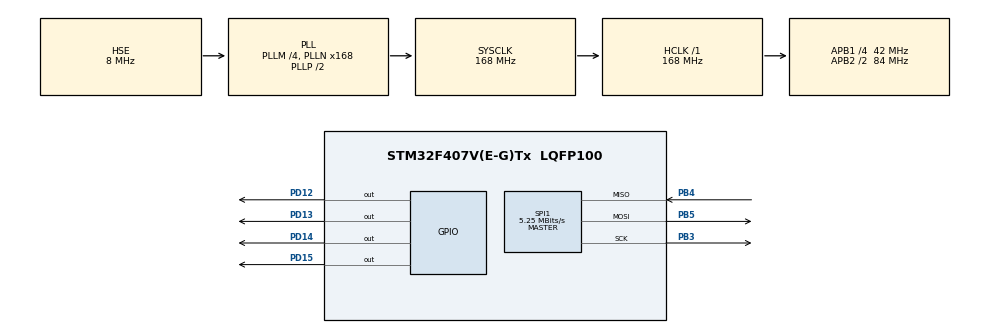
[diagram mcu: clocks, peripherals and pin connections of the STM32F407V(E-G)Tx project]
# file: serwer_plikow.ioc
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Mcu.Family=STM32F4
Mcu.Name=STM32F407V(E-G)Tx
Mcu.Package=LQFP100
NVIC.PriorityGroup=NVIC_PRIORITYGROUP_4
PB3.Mode=Full_Duplex_Master
PB3.Signal=SPI1_SCK
PB4.Mode=Full_Duplex_Master
PB4.Signal=SPI1_MISO
PB5.Mode=Full_Duplex_Master
PB5.Signal=SPI1_MOSI
PD12.Signal=GPIO_Output
PD13.Signal=GPIO_Output
PD14.Signal=GPIO_Output
PD15.Signal=GPIO_Output
PH0-OSC_IN.Mode=HSE-External-Oscillator
PH0-OSC_IN.Signal=RCC_OSC_IN
PH1-OSC_OUT.Mode=HSE-External-Oscillator
PH1-OSC_OUT.Signal=RCC_OSC_OUT
ProjectManager.HeapSize=0x200
ProjectManager.StackSize=0x400
ProjectManager.TargetToolchain=STM32CubeIDE
RCC.48MHZClocksFreq_Value=84000000
RCC.AHBFreq_Value=168000000
RCC.APB1CLKDivider=RCC_HCLK_DIV4
RCC.APB1Freq_Value=42000000
RCC.APB1TimFreq_Value=84000000
RCC.APB2CLKDivider=RCC_HCLK_DIV2
RCC.APB2Freq_Value=84000000
RCC.APB2TimFreq_Value=168000000
RCC.CortexFreq_Value=168000000
RCC.HCLKFreq_Value=168000000
RCC.HSE_VALUE=8000000
RCC.HSI_VALUE=16000000
RCC.LSE_VALUE=32768
RCC.PLLM=4
RCC.PLLN=168
RCC.PLLSourceVirtual=RCC_PLLSOURCE_HSE
RCC.SYSCLKFreq_VALUE=168000000
RCC.SYSCLKSource=RCC_SYSCLKSOURCE_PLLCLK
RCC.VCOOutputFreq_Value=336000000
SPI1.BaudRatePrescaler=SPI_BAUDRATEPRESCALER_16
SPI1.CalculateBaudRate=5.25 MBits/s
SPI1.Direction=SPI_DIRECTION_2LINES
SPI1.Mode=SPI_MODE_MASTER
SPI1.VirtualType=VM_MASTER
board=custom

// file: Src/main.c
/* USER CODE BEGIN Header */
/**
  ******************************************************************************
  * @file           : main.c
  * @brief          : Main program body
  ******************************************************************************
  * @attention
  *
  * <h2><center>&copy; Copyright (c) 2020 STMicroelectronics.
  * All rights reserved.</center></h2>
  *
  * This software component is licensed by ST under BSD 3-Clause license,
  * the "License"; You may not use this file except in compliance with the
  * License. You may obtain a copy of the License at:
  *                        opensource.org/licenses/BSD-3-Clause
  *
  ******************************************************************************
  */
/* USER CODE END Header */

#include "main.h"

/* USER CODE BEGIN Includes */
#include "ff.h"
/* USER CODE END Includes */

SPI_HandleTypeDef hspi1;

/* USER CODE BEGIN PV */
char buffer[256];
static FATFS FatFs;
FRESULT fresult;
FIL file;
WORD bytes_written;
WORD bytes_read;
FILINFO fileInfo;
DIR dir;
/* USER CODE END PV */

void SystemClock_Config(void);
static void MX_GPIO_Init(void);
static void MX_SPI1_Init(void);

/* USER CODE BEGIN 0 */

volatile int i = 0;
/* USER CODE END 0 */

int main(void)
{

  /* MCU Configuration--------------------------------------------------------*/

  /* Reset of all peripherals, Initializes the Flash interface and the Systick. */
  HAL_Init();

  /* Configure the system clock */
  SystemClock_Config();

  /* Initialize all configured peripherals */
  MX_GPIO_Init();
  MX_SPI1_Init();

  /* Infinite loop */
  /* USER CODE BEGIN WHILE */
  while (1)
  {

	  	fresult = f_mount(&FatFs, "", 0);
	  	fresult = f_open(&file, "test.txt", FA_OPEN_ALWAYS | FA_WRITE);
	  	fresult = f_write(&file, "test", 16, &bytes_written);
	  	fresult = f_close (&file);

	  	fresult = f_mkdir("katalog1");
	  	fresult = f_opendir(&dir,"katalog1");
	  	fresult = f_stat("test.txt", &fileInfo);
	  	switch (fresult) {

	  	    case FR_OK:
	  	        printf("Size: %lu\n", fileInfo.fsize);
	  	        printf("Timestamp: %u/%02u/%02u, %02u:%02u\n",
	  	               (fileInfo.fdate >> 9) + 1980, fileInfo.fdate >> 5 & 15, fileInfo.fdate & 31,
					   fileInfo.ftime >> 11, fileInfo.ftime >> 5 & 63);
	  	        printf("Attributes: %c%c%c%c%c\n",
	  	               (fileInfo.fattrib & AM_DIR) ? 'D' : '-',
	  	               (fileInfo.fattrib & AM_RDO) ? 'R' : '-',
	  	               (fileInfo.fattrib & AM_HID) ? 'H' : '-',
	  	               (fileInfo.fattrib & AM_SYS) ? 'S' : '-',
	  	               (fileInfo.fattrib & AM_ARC) ? 'A' : '-');
	  	        break;

	  	    case FR_NO_FILE:
	  	        printf("It is not exist.\n");
	  	        break;

	  	    default:
	  	        printf("An error occured. (%d)\n", file);
	  	    }

    /* USER CODE END WHILE */

  }
}

void SystemClock_Config(void)
{
  RCC_OscInitTypeDef RCC_OscInitStruct = {0};
  RCC_ClkInitTypeDef RCC_ClkInitStruct = {0};

  /** Configure the main internal regulator output voltage
  */
  __HAL_RCC_PWR_CLK_ENABLE();
  __HAL_PWR_VOLTAGESCALING_CONFIG(PWR_REGULATOR_VOLTAGE_SCALE1);
  /** Initializes the CPU, AHB and APB busses clocks
  */
  RCC_OscInitStruct.OscillatorType = RCC_OSCILLATORTYPE_HSE;
  RCC_OscInitStruct.HSEState = RCC_HSE_ON;
  RCC_OscInitStruct.PLL.PLLState = RCC_PLL_ON;
  RCC_OscInitStruct.PLL.PLLSource = RCC_PLLSOURCE_HSE;
  RCC_OscInitStruct.PLL.PLLM = 4;
  RCC_OscInitStruct.PLL.PLLN = 168;
  RCC_OscInitStruct.PLL.PLLP = RCC_PLLP_DIV2;
  RCC_OscInitStruct.PLL.PLLQ = 4;
  if (HAL_RCC_OscConfig(&RCC_OscInitStruct) != HAL_OK)
  {
    Error_Handler();
  }
  /** Initializes the CPU, AHB and APB busses clocks
  */
  RCC_ClkInitStruct.ClockType = RCC_CLOCKTYPE_HCLK|RCC_CLOCKTYPE_SYSCLK
                              |RCC_CLOCKTYPE_PCLK1|RCC_CLOCKTYPE_PCLK2;
  RCC_ClkInitStruct.SYSCLKSource = RCC_SYSCLKSOURCE_PLLCLK;
  RCC_ClkInitStruct.AHBCLKDivider = RCC_SYSCLK_DIV1;
  RCC_ClkInitStruct.APB1CLKDivider = RCC_HCLK_DIV4;
  RCC_ClkInitStruct.APB2CLKDivider = RCC_HCLK_DIV2;

  if (HAL_RCC_ClockConfig(&RCC_ClkInitStruct, FLASH_LATENCY_5) != HAL_OK)
  {
    Error_Handler();
  }
}

static void MX_SPI1_Init(void)
{

  /* SPI1 parameter configuration*/
  hspi1.Instance = SPI1;
  hspi1.Init.Mode = SPI_MODE_MASTER;
  hspi1.Init.Direction = SPI_DIRECTION_2LINES;
  hspi1.Init.DataSize = SPI_DATASIZE_8BIT;
  hspi1.Init.CLKPolarity = SPI_POLARITY_LOW;
  hspi1.Init.CLKPhase = SPI_PHASE_1EDGE;
  hspi1.Init.NSS = SPI_NSS_SOFT;
  hspi1.Init.BaudRatePrescaler = SPI_BAUDRATEPRESCALER_16;
  hspi1.Init.FirstBit = SPI_FIRSTBIT_MSB;
  hspi1.Init.TIMode = SPI_TIMODE_DISABLE;
  hspi1.Init.CRCCalculation = SPI_CRCCALCULATION_DISABLE;
  hspi1.Init.CRCPolynomial = 10;
  if (HAL_SPI_Init(&hspi1) != HAL_OK)
  {
    Error_Handler();
  }

}

static void MX_GPIO_Init(void)
{
  GPIO_InitTypeDef GPIO_InitStruct = {0};

  /* GPIO Ports Clock Enable */
  __HAL_RCC_GPIOH_CLK_ENABLE();
  __HAL_RCC_GPIOD_CLK_ENABLE();
  __HAL_RCC_GPIOB_CLK_ENABLE();

  /*Configure GPIO pin Output Level */
  HAL_GPIO_WritePin(GPIOD, GPIO_PIN_12|GPIO_PIN_13|GPIO_PIN_14|GPIO_PIN_15, GPIO_PIN_RESET);

  /*Configure GPIO pins : PD12 PD13 PD14 PD15 */
  GPIO_InitStruct.Pin = GPIO_PIN_12|GPIO_PIN_13|GPIO_PIN_14|GPIO_PIN_15;
  GPIO_InitStruct.Mode = GPIO_MODE_OUTPUT_PP;
  GPIO_InitStruct.Pull = GPIO_NOPULL;
  GPIO_InitStruct.Speed = GPIO_SPEED_FREQ_LOW;
  HAL_GPIO_Init(GPIOD, &GPIO_InitStruct);

}

void Error_Handler(void)
{
}

/************************ (C) COPYRIGHT STMicroelectronics *****END OF FILE****/
